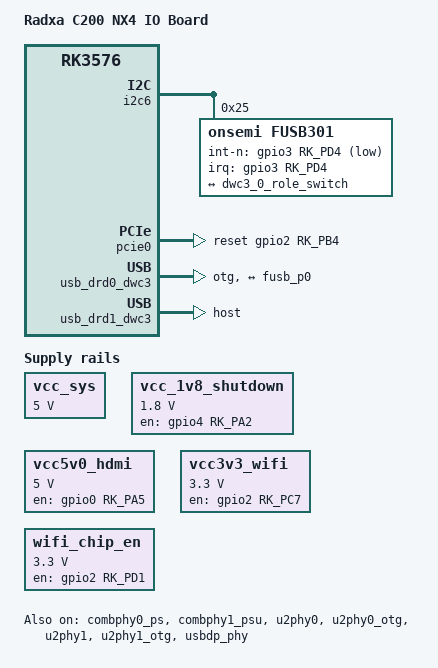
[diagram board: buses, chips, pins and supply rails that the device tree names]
// SPDX-License-Identifier: (GPL-2.0+ OR MIT)
/*
 * Copyright (c) 2024 Rockchip Electronics Co., Ltd.
 * Copyright (c) 2025 Radxa Computer (Shenzhen) Co., Ltd.
 */

/dts-v1/;
#include "rk3576-radxa-nx4.dtsi"

/ {
	model = "Radxa C200 NX4 IO Board";
	compatible = "radxa,nx4-c200", "radxa,nx4", "rockchip,rk3576";

	vcc_sys: vcc5v0-sys {
		compatible = "regulator-fixed";
		regulator-name = "vcc_sys";
		regulator-always-on;
		regulator-boot-on;
		regulator-min-microvolt = <5000000>;
		regulator-max-microvolt = <5000000>;
	};

	vcc_1v8_shutdown: vcc-1v8-shutdown {
		compatible = "regulator-fixed";
		regulator-name = "vcc_power";
		regulator-always-on;
		regulator-boot-on;
		regulator-min-microvolt = <1800000>;
		regulator-max-microvolt = <1800000>;
		gpio = <&gpio4 RK_PA2 GPIO_ACTIVE_HIGH>;
		enable-active-high;
		pinctrl-names = "default";
		pinctrl-0 = <&shutdown_en>;
	};

	vcc5v0_hdmi: vcc5v0-hdmi {
		compatible = "regulator-fixed";
		regulator-name = "vcc5v0_hdmi";
		regulator-always-on;
		regulator-boot-on;
		regulator-min-microvolt = <5000000>;
		regulator-max-microvolt = <5000000>;
		gpio = <&gpio0 RK_PA5 GPIO_ACTIVE_HIGH>;
		enable-active-high;
		pinctrl-names = "default";
		pinctrl-0 = <&hdmi_en>;
	};

	vcc3v3_wifi: vcc3v3-wifi {
		compatible = "regulator-fixed";
		regulator-name = "vcc3v3_wifi";
		regulator-always-on;
		regulator-boot-on;
		regulator-min-microvolt = <3300000>;
		regulator-max-microvolt = <3300000>;
		gpio = <&gpio2 RK_PC7 GPIO_ACTIVE_HIGH>;
		enable-active-high;
		startup-delay-us = <5000>;
		pinctrl-names = "default";
		pinctrl-0 = <&usb_wifi_power_en>;
	};

	wifi_chip_en: wifi-chip-en {
		compatible = "regulator-fixed";
		regulator-name = "wifi_chip_en";
		regulator-always-on;
		regulator-boot-on;
		regulator-min-microvolt = <3300000>;
		regulator-max-microvolt = <3300000>;
		gpio = <&gpio2 RK_PD1 GPIO_ACTIVE_HIGH>;
		enable-active-high;
		startup-delay-us = <5000>;
		pinctrl-names = "default";
		pinctrl-0 = <&wifi_chip_en_pin>;
	};
};

&combphy0_ps {
	status = "okay";
};

&combphy1_psu {
	status = "okay";
};

&i2c6 {
	fusb301@25 {
		compatible = "onsemi,fusb301";
		reg = <0x25>;
		interrupt-parent = <&gpio3>;
		interrupts = <RK_PD4 IRQ_TYPE_LEVEL_LOW>;
		int-n-gpios = <&gpio3 RK_PD4 GPIO_ACTIVE_LOW>;
		pinctrl-names = "default";
		pinctrl-0 = <&usbc0_int>;

		connector {
			port {
				fusb_p0: endpoint {
					remote-endpoint = <&dwc3_0_role_switch>;
				};
			};
		};
	};
};

&pcie0 {
	reset-gpios = <&gpio2 RK_PB4 GPIO_ACTIVE_HIGH>;
	rockchip,skip-scan-in-resume;
	status = "okay";
};

&pinctrl {
	shutdown {
		shutdown_en: shutdown-en {
			rockchip,pins = <4 RK_PA2 RK_FUNC_GPIO &pcfg_pull_up>;
		};
	};

	hdmi {
		hdmi_en: hdmi-en {
			rockchip,pins = <0 RK_PA5 RK_FUNC_GPIO &pcfg_pull_up>;
		};
	};

	usb-typec {
		usbc0_int: usbc0-int {
			rockchip,pins = <3 RK_PD4 RK_FUNC_GPIO &pcfg_pull_up>;
		};
	};

	wifi {
		usb_wifi_power_en: usb-wifi-power-en {
			rockchip,pins = <2 RK_PC7 RK_FUNC_GPIO &pcfg_pull_none>;
		};

		wifi_chip_en_pin: wifi-chip-en-pin {
			rockchip,pins = <2 RK_PD1 RK_FUNC_GPIO &pcfg_pull_none>;
		};
	};
};

&u2phy0 {
	status = "okay";
};

&u2phy0_otg {
	status = "okay";
};

&u2phy1 {
	status = "okay";
};

&u2phy1_otg {
	status = "okay";
};

&usb_drd0_dwc3 {
	dr_mode = "otg";
	usb-role-switch;
	status = "okay";

	port {
		dwc3_0_role_switch: endpoint {
			remote-endpoint = <&fusb_p0>;
		};
	};
};

&usb_drd1_dwc3 {
	dr_mode = "host";
	status = "okay";
};

&usbdp_phy {
	rockchip,dp-lane-mux = <2 3>;
	status = "okay";
};
